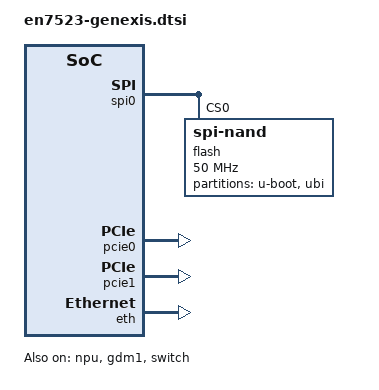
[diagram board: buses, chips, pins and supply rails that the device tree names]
/* SPDX-License-Identifier: GPL-2.0-or-later OR MIT */
/dts-v1/;

#include <dt-bindings/leds/common.h>
#include <dt-bindings/gpio/gpio.h>
#include <dt-bindings/input/input.h>
#include "en7523.dtsi"

/ {
	chosen {
		rootdisk = <&fit>;
		bootargs = "console=ttyS0,115200 earlycon";
		stdout-path = "serial0:115200n8";
	};

	aliases {
		serial0 = &uart1;
	};
};

&spi0 {
	flash@0 {
		reg = <0>;
		compatible = "spi-nand";
		spi-max-frequency = <50000000>;
		spi-tx-bus-width = <1>;
		spi-rx-bus-width = <2>;

		partitions {
			compatible = "fixed-partitions";
			#address-cells = <1>;
			#size-cells = <1>;

		  partition@0 {
		    label = "u-boot";
		    reg = <0x00000000 0x00100000>;
		    read-only;
		  };

		  partition@80000 {
		    label = "ubi";
				compatible = "linux,ubi";
	      reg = <0x00100000 0x0>;

				volumes {
					ubi-volume-ubootenv {
						volname = "env1";
						nvmem-layout {
							compatible = "u-boot,env-redundant-bool";
						};
					};

					ubi-volume-ubootenv2 {
						volname = "env2";
						nvmem-layout {
							compatible = "u-boot,env-redundant-bool";

							ubootenv_ethaddr: ethaddr {
								#nvmem-cell-cells = <1>;
							};
						};
					};

					ubi-volume-art {
						volname = "art";
						read-only;

						nvmem-layout {
							compatible = "fixed-layout";
							#address-cells = <1>;
							#size-cells = <1>;

							eeprom0: eeprom@80000 {
								reg = <0xc0000 0x1000>;
							};
						};
					};

					fit: ubi-volume-firmware {
						volname = "fit";
					};
				};
	    };
		};
	};
};

&pcie0 {
	status = "okay";
};

&pcie1 {
	status = "okay";

	pcie@1,0 {
		reg = <0x00000800 0 0 0 0>;
		#address-cells = <3>;
		#size-cells = <2>;

		mt7916@0,0 {
			reg = <0x0000 0 0 0 0>;
			#address-cells = <1>;
			#size-cells = <0>;
			nvmem-cells = <&eeprom0>;
			nvmem-cell-names = "eeprom";
			airoha,npu = <&npu>;
			airoha,eth = <&eth>;

			/* 2.4 GHz - base MAC + 2 (the base MAC is used by eth) */
			band@0 {
				reg = <0>;
				nvmem-cells = <&ubootenv_ethaddr 2>;
				nvmem-cell-names = "mac-address";
			};

			/* 5 GHz - base MAC + 3 */
			band@1 {
				reg = <1>;
				nvmem-cells = <&ubootenv_ethaddr 3>;
				nvmem-cell-names = "mac-address";
			};
		};
	};
};

&npu {
	status = "okay";
};

&eth {
	status = "okay";
};

&gdm1 {
	status = "okay";
	nvmem-cells = <&ubootenv_ethaddr 0>;
	nvmem-cell-names = "mac-address";
};

&switch {
	status = "okay";
	ports {
		port@6 {
			nvmem-cells = <&ubootenv_ethaddr 0>;
			nvmem-cell-names = "mac-address";
		};
	};
};
